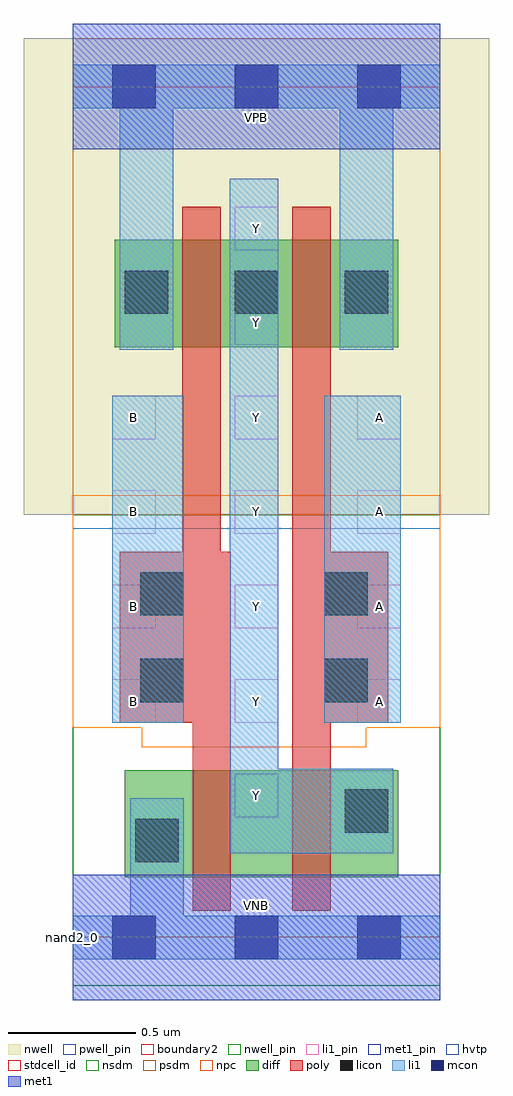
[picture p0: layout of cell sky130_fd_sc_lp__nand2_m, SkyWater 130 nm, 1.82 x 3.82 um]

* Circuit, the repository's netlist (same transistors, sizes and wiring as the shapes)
* Copyright 2020 The SkyWater PDK Authors
*
* Licensed under the Apache License, Version 2.0 (the "License");
* you may not use this file except in compliance with the License.
* You may obtain a copy of the License at
*
*     https://www.apache.org/licenses/LICENSE-2.0
*
* Unless required by applicable law or agreed to in writing, software
* distributed under the License is distributed on an "AS IS" BASIS,
* WITHOUT WARRANTIES OR CONDITIONS OF ANY KIND, either express or implied.
* See the License for the specific language governing permissions and
* limitations under the License.
*
* SPDX-License-Identifier: Apache-2.0

.SUBCKT sky130_fd_sc_lp__nand2_m A B VGND VNB VPB VPWR Y
*.PININFO A:I B:I VGND:I VNB:I VPB:I VPWR:I Y:O
MMP0 Y A VPWR VPB sky130_fd_pr__pfet_01v8_hvt m=1 w=0.42U l=0.15U mult=1 sa=0.265
+ sb=0.265 sd=0.28 area=0.063 perim=1.14
MMP1 Y B VPWR VPB sky130_fd_pr__pfet_01v8_hvt m=1 w=0.42U l=0.15U mult=1 sa=0.265
+ sb=0.265 sd=0.28 area=0.063 perim=1.14
MMN0 Y A sndA VNB sky130_fd_pr__nfet_01v8 m=1 w=0.42U l=0.15U mult=1 sa=0.265 sb=0.265
+ sd=0.28 area=0.063 perim=1.14
MMN1 sndA B VGND VNB sky130_fd_pr__nfet_01v8 m=1 w=0.42U l=0.15U mult=1 sa=0.265
+ sb=0.265 sd=0.28 area=0.063 perim=1.14
.ENDS sky130_fd_sc_lp__nand2_m

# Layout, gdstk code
import gdstk
lib = gdstk.Library(unit=1e-6, precision=1e-09)
def R(c, l, rs):  # rectangles x0, y0, x1, y1
    for r in rs: c.add(gdstk.rectangle(r[:2], r[2:], *l))
def A(c, l, x, y, w, h, nx, ny, dx, dy):  # array of equal rectangles
    R(c, l, [(x+i*dx, y+j*dy, x+i*dx+w, y+j*dy+h) for i in range(nx) for j in range(ny)])
def P(c, l, *ps):  # polygons
    for p in ps: c.add(gdstk.Polygon(p, *l))
nwell_pin = (64, 16)
nwell = (64, 20)
diff = (65, 20)
poly = (66, 20)
licon = (66, 44)
li1_pin = (67, 16)
li1 = (67, 20)
mcon = (67, 44)
met1_pin = (68, 16)
met1 = (68, 20)
hvtp = (78, 44)
stdcell_id = (81, 4)
nsdm = (93, 44)
psdm = (94, 20)
npc = (95, 20)
pwell_pin = (122, 16)
boundary2 = (236, 0)

sky130_fd_sc_lp__nand2_m = lib.new_cell('sky130_fd_sc_lp__nand2_m')
R(sky130_fd_sc_lp__nand2_m, nwell_pin, [(0,3.085,1.44,3.33)])
R(sky130_fd_sc_lp__nand2_m, nwell, [(-0.19,1.655,1.63,3.52)])
R(sky130_fd_sc_lp__nand2_m, diff, [(0.205,0.235,1.275,0.655), (0.165,2.31,1.275,2.73)])
P(sky130_fd_sc_lp__nand2_m, poly, [(0.62,1.51),(0.58,1.51),(0.58,2.86),(0.43,2.86),(0.43,1.51),(0.185,1.51),(0.185,0.84),(0.47,0.84),(0.47,0.105),(0.62,0.105)],
  [(1.235,1.51),(1.01,1.51),(1.01,2.86),(0.86,2.86),(0.86,0.105),(1.01,0.105),(1.01,0.84),(1.235,0.84)])
A(sky130_fd_sc_lp__nand2_m, licon, 0.205, 2.44, 0.17, 0.17, 3, 1, 0.43, 0)
R(sky130_fd_sc_lp__nand2_m, licon, [(0.245,0.295,0.415,0.465), (1.065,0.41,1.235,0.58), (0.265,0.92,0.435,1.09), (0.985,0.92,1.155,1.09), (0.265,1.26,0.435,1.43), (0.985,1.26,1.155,1.43)])
A(sky130_fd_sc_lp__nand2_m, li1_pin, 0.155, 0.84, 0.17, 0.17, 3, 4, 0.48, 0.37)
R(sky130_fd_sc_lp__nand2_m, li1_pin, [(0.635,0.47,0.805,0.64), (0.635,2.32,0.805,2.49), (0.635,2.69,0.805,2.86)])
R(sky130_fd_sc_lp__nand2_m, li1, [(0.155,0.84,0.435,2.12), (0.985,0.84,1.285,2.12)])
P(sky130_fd_sc_lp__nand2_m, li1, [(1.045,2.3),(1.045,3.245),(0.395,3.245),(0.395,2.3),(0.185,2.3),(0.185,3.245),(0,3.245),(0,3.415),(1.44,3.415),(1.44,3.245),(1.255,3.245),(1.255,2.3)],
  [(0.225,0.085),(0.225,0.545),(0.435,0.545),(0.435,0.085),(1.44,0.085),(1.44,-0.085),(0,-0.085),(0,0.085)],
  [(0.615,2.97),(0.805,2.97),(0.805,0.66),(1.255,0.66),(1.255,0.33),(0.615,0.33)])
A(sky130_fd_sc_lp__nand2_m, mcon, 0.155, -0.085, 0.17, 0.17, 3, 2, 0.48, 3.33)
R(sky130_fd_sc_lp__nand2_m, met1_pin, [(0,0,1.44,0.245), (0,3.085,1.44,3.33)])
R(sky130_fd_sc_lp__nand2_m, met1, [(0,-0.245,1.44,0.245), (0,3.085,1.44,3.575)])
R(sky130_fd_sc_lp__nand2_m, hvtp, [(0,1.6,1.44,3.33)])
R(sky130_fd_sc_lp__nand2_m, stdcell_id, [(0,0,1.44,3.33)])
R(sky130_fd_sc_lp__nand2_m, nsdm, [(0,-0.19,1.44,1.655)])
R(sky130_fd_sc_lp__nand2_m, psdm, [(0,1.655,1.44,3.52)])
P(sky130_fd_sc_lp__nand2_m, npc, [(1.44,1.73),(0,1.73),(0,0.82),(0.27,0.82),(0.27,0.745),(1.15,0.745),(1.15,0.82),(1.44,0.82)])
R(sky130_fd_sc_lp__nand2_m, pwell_pin, [(0,0,1.44,0.245)])
R(sky130_fd_sc_lp__nand2_m, boundary2, [(0,0,1.44,3.33)])
sky130_fd_sc_lp__nand2_m.add(gdstk.Label('VNB', (0.72,0.123), layer=64, texttype=59))
sky130_fd_sc_lp__nand2_m.add(gdstk.Label('VPB', (0.72,3.208), layer=64, texttype=5))
sky130_fd_sc_lp__nand2_m.add(gdstk.Label('nand2_0', (0,0), layer=83, texttype=44))
sky130_fd_sc_lp__nand2_m.add(gdstk.Label('VPWR', (0.72,3.208), layer=68, texttype=5))
sky130_fd_sc_lp__nand2_m.add(gdstk.Label('VGND', (0.72,0.123), layer=68, texttype=5))
sky130_fd_sc_lp__nand2_m.add(gdstk.Label('A', (1.2,0.925), layer=67, texttype=5))
sky130_fd_sc_lp__nand2_m.add(gdstk.Label('A', (1.2,1.295), layer=67, texttype=5))
sky130_fd_sc_lp__nand2_m.add(gdstk.Label('A', (1.2,1.665), layer=67, texttype=5))
sky130_fd_sc_lp__nand2_m.add(gdstk.Label('A', (1.2,2.035), layer=67, texttype=5))
sky130_fd_sc_lp__nand2_m.add(gdstk.Label('Y', (0.72,0.555), layer=67, texttype=5))
sky130_fd_sc_lp__nand2_m.add(gdstk.Label('Y', (0.72,0.925), layer=67, texttype=5))
sky130_fd_sc_lp__nand2_m.add(gdstk.Label('Y', (0.72,1.295), layer=67, texttype=5))
sky130_fd_sc_lp__nand2_m.add(gdstk.Label('Y', (0.72,1.665), layer=67, texttype=5))
sky130_fd_sc_lp__nand2_m.add(gdstk.Label('Y', (0.72,2.035), layer=67, texttype=5))
sky130_fd_sc_lp__nand2_m.add(gdstk.Label('Y', (0.72,2.405), layer=67, texttype=5))
sky130_fd_sc_lp__nand2_m.add(gdstk.Label('Y', (0.72,2.775), layer=67, texttype=5))
sky130_fd_sc_lp__nand2_m.add(gdstk.Label('B', (0.24,0.925), layer=67, texttype=5))
sky130_fd_sc_lp__nand2_m.add(gdstk.Label('B', (0.24,1.295), layer=67, texttype=5))
sky130_fd_sc_lp__nand2_m.add(gdstk.Label('B', (0.24,1.665), layer=67, texttype=5))
sky130_fd_sc_lp__nand2_m.add(gdstk.Label('B', (0.24,2.035), layer=67, texttype=5))

lib.write_gds('sky130_fd_sc_lp__nand2_m.gds')
